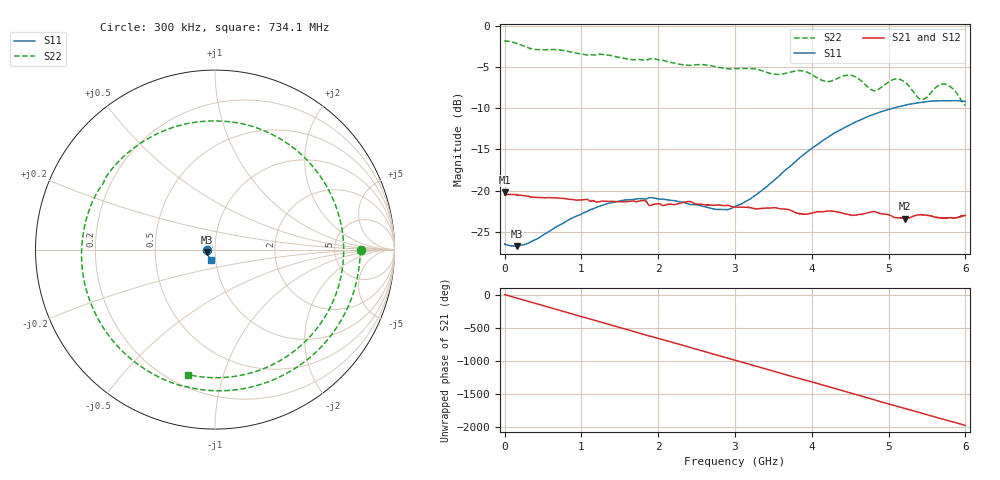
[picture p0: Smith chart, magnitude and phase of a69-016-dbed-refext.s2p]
!  3/18/2021  11:04:56
! Ref Plane: 13.288 mm
# MHZ S MA R  50
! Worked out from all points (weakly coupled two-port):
!   10001 points, 300 kHz to 6 GHz, reference 50 ohm
!   highest |S21| = -20.21 dB at 300 kHz (marker M1); lowest = -23.4 dB at 5.218 GHz (marker M2)
!   lowest |S11| = -26.7 dB at 161.7 MHz (marker M3), VSWR 1.10, Z = 45.8 - j1.31 ohm
!   |S11| at or under -10 dB: start of sweep to 5.058 GHz
!   |S22| runs from -9.7 to -1.8 dB; largest |S21 - S12| = 0.0025
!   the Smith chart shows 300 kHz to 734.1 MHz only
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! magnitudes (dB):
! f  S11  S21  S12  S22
! 300 kHz  -26.5  -20.2  -20.4  -1.8
! 161.7 MHz  -26.7  -20.5  -20.5  -2.2
! 314.7 MHz  -26.4  -20.7  -20.7  -2.7
! 1 GHz  -22.8  -21.1  -21.1  -3.4
! 1.53 GHz  -21.2  -21.3  -21.3  -3.9
! 2.001 GHz  -21.0  -21.6  -21.6  -4.1
! 2.752 GHz  -22.3  -21.8  -21.8  -5.0
! 3 GHz  -21.9  -22.0  -22.0  -5.2
! 3.309 GHz  -20.3  -22.2  -22.2  -5.3
! 3.525 GHz  -18.6  -22.1  -22.1  -5.9
! 3.832 GHz  -16.1  -22.8  -22.8  -5.4
! 4 GHz  -14.9  -22.7  -22.7  -5.9
! 4.205 GHz  -13.5  -22.5  -22.5  -6.8
! 4.522 GHz  -11.9  -23.0  -23.0  -6.0
! 4.81 GHz  -10.7  -22.5  -22.5  -7.9
! 5 GHz  -10.1  -22.9  -22.9  -6.8
! 5.11 GHz  -9.9  -23.3  -23.3  -6.4
! 5.218 GHz  -9.6  -23.4  -23.4  -6.9
! 5.433 GHz  -9.3  -22.9  -22.9  -9.0
! 5.643 GHz  -9.1  -23.3  -23.3  -7.3
! 5.755 GHz  -9.1  -23.3  -23.3  -7.1
! 6 GHz  -9.2  -23.0  -23.0  -9.7
